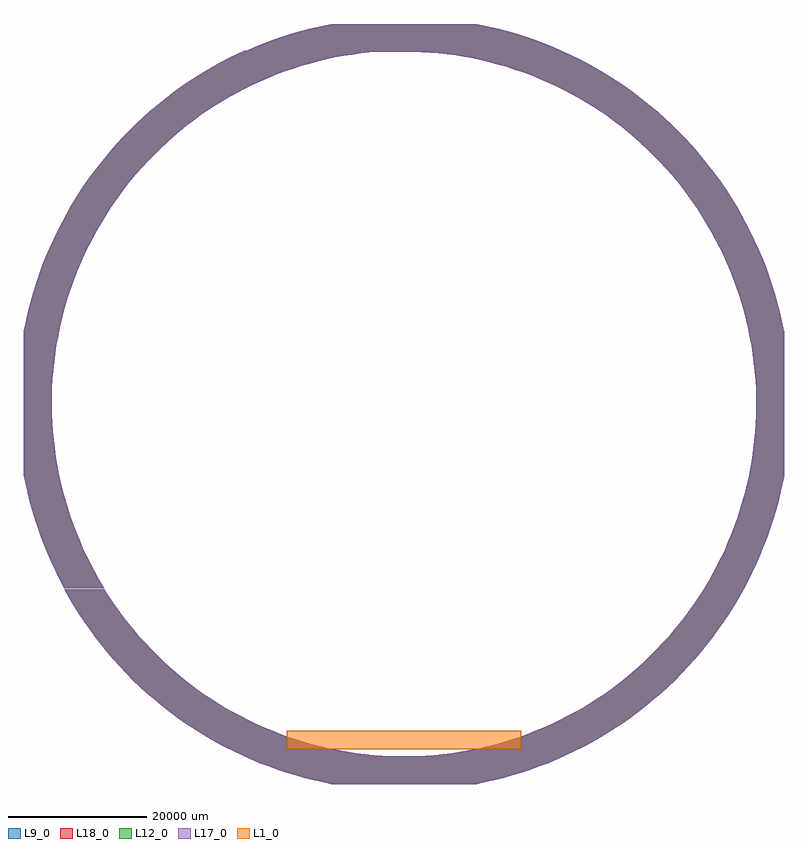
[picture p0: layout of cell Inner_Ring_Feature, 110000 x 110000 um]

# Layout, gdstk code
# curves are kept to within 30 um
import gdstk
lib = gdstk.Library(unit=1e-6, precision=1e-09)
def R(c, l, rs):  # rectangles x0, y0, x1, y1
    for r in rs: c.add(gdstk.rectangle(r[:2], r[2:], *l))
def P(c, l, *ps):  # polygons
    for p in ps: c.add(gdstk.Polygon(p, *l))
L1_0 = (1, 0)
L9_0 = (9, 0)
L12_0 = (12, 0)
L17_0 = (17, 0)
L18_0 = (18, 0)

inner_ring_feature = lib.new_cell('Inner_Ring_Feature')
R(inner_ring_feature, L1_0, [(-16999.996,-50000,17000.006,-47300)])
P(inner_ring_feature, L9_0, [(-49172.55,-26655.379),(-49817.825,-25435.759),(-51017.268,-22950.685),(-52092.842,-20409.543),(-52583.348,-19119.87),(-53041.932,-17818.504),(-53862.236,-15183.858),(-54551.762,-12512.003),(-55000,-10372.42),(-55000,10670.797),(-54703.506,12121.522),(-54046.949,14801.669),(-53259.165,17446.221),(-52342.067,20048.757),(-51297.882,22602.955),(-50129.144,25102.617),(-48838.693,27541.672),(-47429.66,29914.199),(-45905.467,32214.438),(-45101.331,33335.695),(-43411.423,35517.085),(-42526.675,36575.894),(-41616.11,37612.583),(-39719.753,39617.1),(-38735.113,40583.71),(-36695.896,42442.702),(-34567.58,44198.986),(-33471.618,45037.269),(-31219.409,46631.575),(-30064.529,47386.629),(-27700.726,48810.25),(-26493.239,49477.952),(-25269.666,50115.702),(-23155.511,51125.788),(-1256.51,51125.788),(-2512.257,51079.355),(-5018.415,50893.762),(-7512.387,50584.941),(-9988.119,50153.642),(-12439.6,49600.913),(-13654.383,49279.419),(-16058.349,48547.151),(-17246.072,48136.821),(-19589.394,47229.013),(-21885.151,46206.876),(-24127.771,45072.891),(-25227.448,44464.804),(-27380.196,43168.294),(-29466.465,41767.312),(-30483.08,41028.697),(-32460.187,39477.465),(-34358.478,37830.724),(-35276.62,36972.778),(-37048.112,35190.34),(-37900.386,34266.93),(-39535.403,32358.53),(-41074.427,30371.907),(-42513.722,28311.883),(-43194.869,27255.902),(-44478.095,25095.208),(-45653.328,22873.925),(-46199.545,21742.243),(-47207.521,19440.233),(-47668.668,18271.301),(-48100.876,17091.365),(-48877.442,14701.34),(-49535.333,12275.964),(-49819.263,11051.856),(-50072.951,9821.125),(-50488.991,7342.782),(-50782.443,4846.955),(-50882.964,3594.377),(-50952.595,2339.701),(-50999.032,-172.888),(-50975.812,-1429.279),(-50836.562,-3938.438),(-50720.617,-5189.683),(-50396.439,-7681.705),(-50188.403,-8920.971),(-49681.069,-11382.247),(-49053.108,-13815.543),(-48694.358,-15019.85),(-47888.406,-17400.126),(-47441.695,-18574.649),(-46462.155,-20888.903),(-45929.922,-22027.229),(-44782.144,-24262.821),(-43389.907,-26655.379)],
  [(-10522.777,-55000),(-12989.069,-54472.783),(-14327.195,-54136.231),(-16976.551,-53364.752),(-19584.685,-52463.703),(-22145.268,-51435.271),(-24652.082,-50281.954),(-27099.039,-49006.551),(-28298.21,-48324.024),(-30644.295,-46871.39),(-32915.973,-45304.952),(-35107.733,-43628.512),(-37214.251,-41846.142),(-39230.41,-39962.169),(-40203.068,-38983.501),(-42074.586,-36955.773),(-43843.946,-34838.317),(-45506.853,-32636.274),(-46297.114,-31505.194),(-47792.853,-29186.355),(-49172.55,-26796.648),(-43389.907,-26796.648),(-42163.443,-28692.23),(-40698.879,-30734.366),(-39135.497,-32701.879),(-38317.926,-33656.151),(-36613.508,-35502.831),(-35727.695,-36394.117),(-34820.191,-37263.31),(-32942.332,-38933.312),(-31973.114,-39733.109),(-29977.048,-41259.867),(-28951.411,-41985.902),(-26848.041,-43361.074),(-24679.483,-44630.966),(-22451.002,-45792.495),(-21315.979,-46331.729),(-19007.802,-47325.506),(-17836.052,-47779.444),(-15460.786,-48600.042),(-13047.982,-49302.639),(-11829.329,-49609.142),(-9371.225,-50131.628),(-8133.265,-50347.294),(-5643.287,-50686.816),(-3139.606,-50903.27),(-628.303,-50996.13),(628.304,-50996.13),(1884.528,-50965.17),(4392.781,-50810.468),(6890.368,-50532.394),(8133.266,-50347.294),(9371.226,-50131.628),(11829.33,-49609.142),(13047.983,-49302.639),(15460.787,-48600.042),(17836.053,-47779.444),(19007.803,-47325.506),(21315.98,-46331.729),(22451.003,-45792.495),(24679.484,-44630.966),(25771.585,-44009.379),(26848.042,-43361.074),(28951.412,-41985.902),(29977.049,-41259.867),(31973.115,-39733.109),(32942.333,-38933.312),(34820.192,-37263.31),(36613.509,-35502.831),(37477.094,-34589.991),(39135.498,-32701.879),(40698.88,-30734.366),(41443.742,-29722.321),(42857.549,-27644.721),(43525.635,-26580.431),(44782.145,-24404.09),(45929.923,-22168.498),(46462.155,-21030.172),(46966.183,-19879.08),(47888.407,-17541.395),(48694.359,-15161.119),(49053.109,-13956.812),(49681.07,-11523.516),(49949.899,-10296.003),(50396.44,-7822.974),(50720.618,-5330.952),(50836.563,-4079.707),(50975.813,-1570.548),(50999.033,-314.157),(50952.596,2198.431),(50882.965,3453.108),(50651.094,5955.408),(50296.239,8443.248),(50072.952,9679.856),(49535.334,12134.695),(49221.329,13351.436),(48877.443,14560.071),(48100.877,16950.096),(47207.522,19298.964),(46199.546,21600.973),(45653.329,22732.656),(44478.096,24953.939),(43849.793,26042.191),(43194.87,27114.633),(41806.766,29209.493),(41074.428,30230.638),(39535.404,32217.261),(37900.387,34125.661),(37048.113,35049.071),(35276.621,36831.509),(34358.479,37689.455),(32460.188,39336.196),(31481.19,40123.992),(29466.466,41626.043),(27380.197,43027.025),(26311.811,43688.542),(24127.772,44931.622),(21885.152,46065.607),(20743.57,46590.818),(18423.327,47556.084),(16058.35,48405.882),(13654.384,49138.15),(12439.601,49459.644),(9988.12,50012.373),(7512.388,50443.672),(5018.416,50752.493),(2512.258,50938.086),(1256.511,50984.519),(-23155.511,50984.519),(-20229.533,52218.446),(-17632.697,53151.558),(-16317.825,53569.847),(-13659.168,54308.628),(-10515.563,55000),(10515.564,55000),(10967.347,54915.547),(13659.169,54308.628),(16317.826,53569.847),(18936.864,52700.998),(21509.923,51704.19),(24030.755,50581.843),(26493.24,49336.683),(28891.398,47971.732),(31219.41,46490.306),(33471.619,44896),(35642.558,43192.686),(37726.957,41384.497),(39719.754,39475.831),(41616.112,37471.314),(43411.424,35375.817),(45101.332,33194.425),(46681.735,30932.438),(48148.793,28595.347),(49498.944,26188.825),(50728.913,23718.717),(51835.71,21191.019),(52816.648,18611.869),(53669.349,15987.529),(54391.739,13324.371),(54982.065,10628.861),(55000.001,-10513.689),(54846.948,-11305.415),(54223.459,-13993.447),(53468.314,-16647.504),(52583.349,-19261.139),(51570.71,-21828.008),(50432.856,-24341.88),(49172.551,-26796.648),(47792.854,-29186.355),(46297.115,-31505.194),(44688.966,-33747.54),(42972.311,-35907.946),(41151.319,-37981.167),(39230.411,-39962.169),(37214.252,-41846.142),(35107.734,-43628.512),(32915.974,-45304.952),(30644.296,-46871.39),(28298.211,-48324.024),(25883.418,-49659.326),(23405.781,-50874.055),(20871.313,-51965.261),(18286.168,-52930.294),(15656.626,-53766.812),(12989.07,-54472.783),(10522.778,-55000)])
P(inner_ring_feature, L12_0, [(-49172.55,-26655.379),(-49817.825,-25435.759),(-51017.268,-22950.685),(-52092.842,-20409.543),(-52583.348,-19119.87),(-53041.932,-17818.504),(-53862.236,-15183.858),(-54551.762,-12512.003),(-55000,-10372.42),(-55000,10670.797),(-54703.506,12121.522),(-54046.949,14801.669),(-53259.165,17446.221),(-52342.067,20048.757),(-51297.882,22602.955),(-50129.144,25102.617),(-48838.693,27541.672),(-47429.66,29914.199),(-45905.467,32214.438),(-45101.331,33335.695),(-43411.423,35517.085),(-42526.675,36575.894),(-41616.11,37612.583),(-39719.753,39617.1),(-38735.113,40583.71),(-36695.896,42442.702),(-34567.58,44198.986),(-33471.618,45037.269),(-31219.409,46631.575),(-30064.529,47386.629),(-27700.726,48810.25),(-26493.239,49477.952),(-25269.666,50115.702),(-23155.511,51125.788),(-1256.51,51125.788),(-2512.257,51079.355),(-5018.415,50893.762),(-7512.387,50584.941),(-9988.119,50153.642),(-12439.6,49600.913),(-13654.383,49279.419),(-16058.349,48547.151),(-17246.072,48136.821),(-19589.394,47229.013),(-21885.151,46206.876),(-24127.771,45072.891),(-25227.448,44464.804),(-27380.196,43168.294),(-29466.465,41767.312),(-30483.08,41028.697),(-32460.187,39477.465),(-34358.478,37830.724),(-35276.62,36972.778),(-37048.112,35190.34),(-37900.386,34266.93),(-39535.403,32358.53),(-41074.427,30371.907),(-42513.722,28311.883),(-43194.869,27255.902),(-44478.095,25095.208),(-45653.328,22873.925),(-46199.545,21742.243),(-47207.521,19440.233),(-47668.668,18271.301),(-48100.876,17091.365),(-48877.442,14701.34),(-49535.333,12275.964),(-49819.263,11051.856),(-50072.951,9821.125),(-50488.991,7342.782),(-50782.443,4846.955),(-50882.964,3594.377),(-50952.595,2339.701),(-50999.032,-172.888),(-50975.812,-1429.279),(-50836.562,-3938.438),(-50720.617,-5189.683),(-50396.439,-7681.705),(-50188.403,-8920.971),(-49681.069,-11382.247),(-49053.108,-13815.543),(-48694.358,-15019.85),(-47888.406,-17400.126),(-47441.695,-18574.649),(-46462.155,-20888.903),(-45929.922,-22027.229),(-44782.144,-24262.821),(-43389.907,-26655.379)],
  [(-10522.777,-55000),(-12989.069,-54472.783),(-14327.195,-54136.231),(-16976.551,-53364.752),(-19584.685,-52463.703),(-22145.268,-51435.271),(-24652.082,-50281.954),(-27099.039,-49006.551),(-28298.21,-48324.024),(-30644.295,-46871.39),(-32915.973,-45304.952),(-35107.733,-43628.512),(-37214.251,-41846.142),(-39230.41,-39962.169),(-40203.068,-38983.501),(-42074.586,-36955.773),(-43843.946,-34838.317),(-45506.853,-32636.274),(-46297.114,-31505.194),(-47792.853,-29186.355),(-49172.55,-26796.648),(-43389.907,-26796.648),(-42163.443,-28692.23),(-40698.879,-30734.366),(-39135.497,-32701.879),(-38317.926,-33656.151),(-36613.508,-35502.831),(-35727.695,-36394.117),(-34820.191,-37263.31),(-32942.332,-38933.312),(-31973.114,-39733.109),(-29977.048,-41259.867),(-28951.411,-41985.902),(-26848.041,-43361.074),(-24679.483,-44630.966),(-22451.002,-45792.495),(-21315.979,-46331.729),(-19007.802,-47325.506),(-17836.052,-47779.444),(-15460.786,-48600.042),(-13047.982,-49302.639),(-11829.329,-49609.142),(-9371.225,-50131.628),(-8133.265,-50347.294),(-5643.287,-50686.816),(-3139.606,-50903.27),(-628.303,-50996.13),(628.304,-50996.13),(1884.528,-50965.17),(4392.781,-50810.468),(6890.368,-50532.394),(8133.266,-50347.294),(9371.226,-50131.628),(11829.33,-49609.142),(13047.983,-49302.639),(15460.787,-48600.042),(17836.053,-47779.444),(19007.803,-47325.506),(21315.98,-46331.729),(22451.003,-45792.495),(24679.484,-44630.966),(25771.585,-44009.379),(26848.042,-43361.074),(28951.412,-41985.902),(29977.049,-41259.867),(31973.115,-39733.109),(32942.333,-38933.312),(34820.192,-37263.31),(36613.509,-35502.831),(37477.094,-34589.991),(39135.498,-32701.879),(40698.88,-30734.366),(41443.742,-29722.321),(42857.549,-27644.721),(43525.635,-26580.431),(44782.145,-24404.09),(45929.923,-22168.498),(46462.155,-21030.172),(46966.183,-19879.08),(47888.407,-17541.395),(48694.359,-15161.119),(49053.109,-13956.812),(49681.07,-11523.516),(49949.899,-10296.003),(50396.44,-7822.974),(50720.618,-5330.952),(50836.563,-4079.707),(50975.813,-1570.548),(50999.033,-314.157),(50952.596,2198.431),(50882.965,3453.108),(50651.094,5955.408),(50296.239,8443.248),(50072.952,9679.856),(49535.334,12134.695),(49221.329,13351.436),(48877.443,14560.071),(48100.877,16950.096),(47207.522,19298.964),(46199.546,21600.973),(45653.329,22732.656),(44478.096,24953.939),(43849.793,26042.191),(43194.87,27114.633),(41806.766,29209.493),(41074.428,30230.638),(39535.404,32217.261),(37900.387,34125.661),(37048.113,35049.071),(35276.621,36831.509),(34358.479,37689.455),(32460.188,39336.196),(31481.19,40123.992),(29466.466,41626.043),(27380.197,43027.025),(26311.811,43688.542),(24127.772,44931.622),(21885.152,46065.607),(20743.57,46590.818),(18423.327,47556.084),(16058.35,48405.882),(13654.384,49138.15),(12439.601,49459.644),(9988.12,50012.373),(7512.388,50443.672),(5018.416,50752.493),(2512.258,50938.086),(1256.511,50984.519),(-23155.511,50984.519),(-20229.533,52218.446),(-17632.697,53151.558),(-16317.825,53569.847),(-13659.168,54308.628),(-10515.563,55000),(10515.564,55000),(10967.347,54915.547),(13659.169,54308.628),(16317.826,53569.847),(18936.864,52700.998),(21509.923,51704.19),(24030.755,50581.843),(26493.24,49336.683),(28891.398,47971.732),(31219.41,46490.306),(33471.619,44896),(35642.558,43192.686),(37726.957,41384.497),(39719.754,39475.831),(41616.112,37471.314),(43411.424,35375.817),(45101.332,33194.425),(46681.735,30932.438),(48148.793,28595.347),(49498.944,26188.825),(50728.913,23718.717),(51835.71,21191.019),(52816.648,18611.869),(53669.349,15987.529),(54391.739,13324.371),(54982.065,10628.861),(55000.001,-10513.689),(54846.948,-11305.415),(54223.459,-13993.447),(53468.314,-16647.504),(52583.349,-19261.139),(51570.71,-21828.008),(50432.856,-24341.88),(49172.551,-26796.648),(47792.854,-29186.355),(46297.115,-31505.194),(44688.966,-33747.54),(42972.311,-35907.946),(41151.319,-37981.167),(39230.411,-39962.169),(37214.252,-41846.142),(35107.734,-43628.512),(32915.974,-45304.952),(30644.296,-46871.39),(28298.211,-48324.024),(25883.418,-49659.326),(23405.781,-50874.055),(20871.313,-51965.261),(18286.168,-52930.294),(15656.626,-53766.812),(12989.07,-54472.783),(10522.778,-55000)])
P(inner_ring_feature, L17_0, [(-49172.55,-26655.379),(-49817.825,-25435.759),(-51017.268,-22950.685),(-52092.842,-20409.543),(-52583.348,-19119.87),(-53041.932,-17818.504),(-53862.236,-15183.858),(-54551.762,-12512.003),(-55000,-10372.42),(-55000,10670.797),(-54703.506,12121.522),(-54046.949,14801.669),(-53259.165,17446.221),(-52342.067,20048.757),(-51297.882,22602.955),(-50129.144,25102.617),(-48838.693,27541.672),(-47429.66,29914.199),(-45905.467,32214.438),(-45101.331,33335.695),(-43411.423,35517.085),(-42526.675,36575.894),(-41616.11,37612.583),(-39719.753,39617.1),(-38735.113,40583.71),(-36695.896,42442.702),(-34567.58,44198.986),(-33471.618,45037.269),(-31219.409,46631.575),(-30064.529,47386.629),(-27700.726,48810.25),(-26493.239,49477.952),(-25269.666,50115.702),(-23155.511,51125.788),(-1256.51,51125.788),(-2512.257,51079.355),(-5018.415,50893.762),(-7512.387,50584.941),(-9988.119,50153.642),(-12439.6,49600.913),(-13654.383,49279.419),(-16058.349,48547.151),(-17246.072,48136.821),(-19589.394,47229.013),(-21885.151,46206.876),(-24127.771,45072.891),(-25227.448,44464.804),(-27380.196,43168.294),(-29466.465,41767.312),(-30483.08,41028.697),(-32460.187,39477.465),(-34358.478,37830.724),(-35276.62,36972.778),(-37048.112,35190.34),(-37900.386,34266.93),(-39535.403,32358.53),(-41074.427,30371.907),(-42513.722,28311.883),(-43194.869,27255.902),(-44478.095,25095.208),(-45653.328,22873.925),(-46199.545,21742.243),(-47207.521,19440.233),(-47668.668,18271.301),(-48100.876,17091.365),(-48877.442,14701.34),(-49535.333,12275.964),(-49819.263,11051.856),(-50072.951,9821.125),(-50488.991,7342.782),(-50782.443,4846.955),(-50882.964,3594.377),(-50952.595,2339.701),(-50999.032,-172.888),(-50975.812,-1429.279),(-50836.562,-3938.438),(-50720.617,-5189.683),(-50396.439,-7681.705),(-50188.403,-8920.971),(-49681.069,-11382.247),(-49053.108,-13815.543),(-48694.358,-15019.85),(-47888.406,-17400.126),(-47441.695,-18574.649),(-46462.155,-20888.903),(-45929.922,-22027.229),(-44782.144,-24262.821),(-43389.907,-26655.379)],
  [(-10522.777,-55000),(-12989.069,-54472.783),(-14327.195,-54136.231),(-16976.551,-53364.752),(-19584.685,-52463.703),(-22145.268,-51435.271),(-24652.082,-50281.954),(-27099.039,-49006.551),(-28298.21,-48324.024),(-30644.295,-46871.39),(-32915.973,-45304.952),(-35107.733,-43628.512),(-37214.251,-41846.142),(-39230.41,-39962.169),(-40203.068,-38983.501),(-42074.586,-36955.773),(-43843.946,-34838.317),(-45506.853,-32636.274),(-46297.114,-31505.194),(-47792.853,-29186.355),(-49172.55,-26796.648),(-43389.907,-26796.648),(-42163.443,-28692.23),(-40698.879,-30734.366),(-39135.497,-32701.879),(-38317.926,-33656.151),(-36613.508,-35502.831),(-35727.695,-36394.117),(-34820.191,-37263.31),(-32942.332,-38933.312),(-31973.114,-39733.109),(-29977.048,-41259.867),(-28951.411,-41985.902),(-26848.041,-43361.074),(-24679.483,-44630.966),(-22451.002,-45792.495),(-21315.979,-46331.729),(-19007.802,-47325.506),(-17836.052,-47779.444),(-15460.786,-48600.042),(-13047.982,-49302.639),(-11829.329,-49609.142),(-9371.225,-50131.628),(-8133.265,-50347.294),(-5643.287,-50686.816),(-3139.606,-50903.27),(-628.303,-50996.13),(628.304,-50996.13),(1884.528,-50965.17),(4392.781,-50810.468),(6890.368,-50532.394),(8133.266,-50347.294),(9371.226,-50131.628),(11829.33,-49609.142),(13047.983,-49302.639),(15460.787,-48600.042),(17836.053,-47779.444),(19007.803,-47325.506),(21315.98,-46331.729),(22451.003,-45792.495),(24679.484,-44630.966),(25771.585,-44009.379),(26848.042,-43361.074),(28951.412,-41985.902),(29977.049,-41259.867),(31973.115,-39733.109),(32942.333,-38933.312),(34820.192,-37263.31),(36613.509,-35502.831),(37477.094,-34589.991),(39135.498,-32701.879),(40698.88,-30734.366),(41443.742,-29722.321),(42857.549,-27644.721),(43525.635,-26580.431),(44782.145,-24404.09),(45929.923,-22168.498),(46462.155,-21030.172),(46966.183,-19879.08),(47888.407,-17541.395),(48694.359,-15161.119),(49053.109,-13956.812),(49681.07,-11523.516),(49949.899,-10296.003),(50396.44,-7822.974),(50720.618,-5330.952),(50836.563,-4079.707),(50975.813,-1570.548),(50999.033,-314.157),(50952.596,2198.431),(50882.965,3453.108),(50651.094,5955.408),(50296.239,8443.248),(50072.952,9679.856),(49535.334,12134.695),(49221.329,13351.436),(48877.443,14560.071),(48100.877,16950.096),(47207.522,19298.964),(46199.546,21600.973),(45653.329,22732.656),(44478.096,24953.939),(43849.793,26042.191),(43194.87,27114.633),(41806.766,29209.493),(41074.428,30230.638),(39535.404,32217.261),(37900.387,34125.661),(37048.113,35049.071),(35276.621,36831.509),(34358.479,37689.455),(32460.188,39336.196),(31481.19,40123.992),(29466.466,41626.043),(27380.197,43027.025),(26311.811,43688.542),(24127.772,44931.622),(21885.152,46065.607),(20743.57,46590.818),(18423.327,47556.084),(16058.35,48405.882),(13654.384,49138.15),(12439.601,49459.644),(9988.12,50012.373),(7512.388,50443.672),(5018.416,50752.493),(2512.258,50938.086),(1256.511,50984.519),(-23155.511,50984.519),(-20229.533,52218.446),(-17632.697,53151.558),(-16317.825,53569.847),(-13659.168,54308.628),(-10515.563,55000),(10515.564,55000),(10967.347,54915.547),(13659.169,54308.628),(16317.826,53569.847),(18936.864,52700.998),(21509.923,51704.19),(24030.755,50581.843),(26493.24,49336.683),(28891.398,47971.732),(31219.41,46490.306),(33471.619,44896),(35642.558,43192.686),(37726.957,41384.497),(39719.754,39475.831),(41616.112,37471.314),(43411.424,35375.817),(45101.332,33194.425),(46681.735,30932.438),(48148.793,28595.347),(49498.944,26188.825),(50728.913,23718.717),(51835.71,21191.019),(52816.648,18611.869),(53669.349,15987.529),(54391.739,13324.371),(54982.065,10628.861),(55000.001,-10513.689),(54846.948,-11305.415),(54223.459,-13993.447),(53468.314,-16647.504),(52583.349,-19261.139),(51570.71,-21828.008),(50432.856,-24341.88),(49172.551,-26796.648),(47792.854,-29186.355),(46297.115,-31505.194),(44688.966,-33747.54),(42972.311,-35907.946),(41151.319,-37981.167),(39230.411,-39962.169),(37214.252,-41846.142),(35107.734,-43628.512),(32915.974,-45304.952),(30644.296,-46871.39),(28298.211,-48324.024),(25883.418,-49659.326),(23405.781,-50874.055),(20871.313,-51965.261),(18286.168,-52930.294),(15656.626,-53766.812),(12989.07,-54472.783),(10522.778,-55000)])
P(inner_ring_feature, L18_0, [(-49172.55,-26655.379),(-49817.825,-25435.759),(-51017.268,-22950.685),(-52092.842,-20409.543),(-52583.348,-19119.87),(-53041.932,-17818.504),(-53862.236,-15183.858),(-54551.762,-12512.003),(-55000,-10372.42),(-55000,10670.797),(-54703.506,12121.522),(-54046.949,14801.669),(-53259.165,17446.221),(-52342.067,20048.757),(-51297.882,22602.955),(-50129.144,25102.617),(-48838.693,27541.672),(-47429.66,29914.199),(-45905.467,32214.438),(-45101.331,33335.695),(-43411.423,35517.085),(-42526.675,36575.894),(-41616.11,37612.583),(-39719.753,39617.1),(-38735.113,40583.71),(-36695.896,42442.702),(-34567.58,44198.986),(-33471.618,45037.269),(-31219.409,46631.575),(-30064.529,47386.629),(-27700.726,48810.25),(-26493.239,49477.952),(-25269.666,50115.702),(-23155.511,51125.788),(-1256.51,51125.788),(-2512.257,51079.355),(-5018.415,50893.762),(-7512.387,50584.941),(-9988.119,50153.642),(-12439.6,49600.913),(-13654.383,49279.419),(-16058.349,48547.151),(-17246.072,48136.821),(-19589.394,47229.013),(-21885.151,46206.876),(-24127.771,45072.891),(-25227.448,44464.804),(-27380.196,43168.294),(-29466.465,41767.312),(-30483.08,41028.697),(-32460.187,39477.465),(-34358.478,37830.724),(-35276.62,36972.778),(-37048.112,35190.34),(-37900.386,34266.93),(-39535.403,32358.53),(-41074.427,30371.907),(-42513.722,28311.883),(-43194.869,27255.902),(-44478.095,25095.208),(-45653.328,22873.925),(-46199.545,21742.243),(-47207.521,19440.233),(-47668.668,18271.301),(-48100.876,17091.365),(-48877.442,14701.34),(-49535.333,12275.964),(-49819.263,11051.856),(-50072.951,9821.125),(-50488.991,7342.782),(-50782.443,4846.955),(-50882.964,3594.377),(-50952.595,2339.701),(-50999.032,-172.888),(-50975.812,-1429.279),(-50836.562,-3938.438),(-50720.617,-5189.683),(-50396.439,-7681.705),(-50188.403,-8920.971),(-49681.069,-11382.247),(-49053.108,-13815.543),(-48694.358,-15019.85),(-47888.406,-17400.126),(-47441.695,-18574.649),(-46462.155,-20888.903),(-45929.922,-22027.229),(-44782.144,-24262.821),(-43389.907,-26655.379)],
  [(-10522.777,-55000),(-12989.069,-54472.783),(-14327.195,-54136.231),(-16976.551,-53364.752),(-19584.685,-52463.703),(-22145.268,-51435.271),(-24652.082,-50281.954),(-27099.039,-49006.551),(-28298.21,-48324.024),(-30644.295,-46871.39),(-32915.973,-45304.952),(-35107.733,-43628.512),(-37214.251,-41846.142),(-39230.41,-39962.169),(-40203.068,-38983.501),(-42074.586,-36955.773),(-43843.946,-34838.317),(-45506.853,-32636.274),(-46297.114,-31505.194),(-47792.853,-29186.355),(-49172.55,-26796.648),(-43389.907,-26796.648),(-42163.443,-28692.23),(-40698.879,-30734.366),(-39135.497,-32701.879),(-38317.926,-33656.151),(-36613.508,-35502.831),(-35727.695,-36394.117),(-34820.191,-37263.31),(-32942.332,-38933.312),(-31973.114,-39733.109),(-29977.048,-41259.867),(-28951.411,-41985.902),(-26848.041,-43361.074),(-24679.483,-44630.966),(-22451.002,-45792.495),(-21315.979,-46331.729),(-19007.802,-47325.506),(-17836.052,-47779.444),(-15460.786,-48600.042),(-13047.982,-49302.639),(-11829.329,-49609.142),(-9371.225,-50131.628),(-8133.265,-50347.294),(-5643.287,-50686.816),(-3139.606,-50903.27),(-628.303,-50996.13),(628.304,-50996.13),(1884.528,-50965.17),(4392.781,-50810.468),(6890.368,-50532.394),(8133.266,-50347.294),(9371.226,-50131.628),(11829.33,-49609.142),(13047.983,-49302.639),(15460.787,-48600.042),(17836.053,-47779.444),(19007.803,-47325.506),(21315.98,-46331.729),(22451.003,-45792.495),(24679.484,-44630.966),(25771.585,-44009.379),(26848.042,-43361.074),(28951.412,-41985.902),(29977.049,-41259.867),(31973.115,-39733.109),(32942.333,-38933.312),(34820.192,-37263.31),(36613.509,-35502.831),(37477.094,-34589.991),(39135.498,-32701.879),(40698.88,-30734.366),(41443.742,-29722.321),(42857.549,-27644.721),(43525.635,-26580.431),(44782.145,-24404.09),(45929.923,-22168.498),(46462.155,-21030.172),(46966.183,-19879.08),(47888.407,-17541.395),(48694.359,-15161.119),(49053.109,-13956.812),(49681.07,-11523.516),(49949.899,-10296.003),(50396.44,-7822.974),(50720.618,-5330.952),(50836.563,-4079.707),(50975.813,-1570.548),(50999.033,-314.157),(50952.596,2198.431),(50882.965,3453.108),(50651.094,5955.408),(50296.239,8443.248),(50072.952,9679.856),(49535.334,12134.695),(49221.329,13351.436),(48877.443,14560.071),(48100.877,16950.096),(47207.522,19298.964),(46199.546,21600.973),(45653.329,22732.656),(44478.096,24953.939),(43849.793,26042.191),(43194.87,27114.633),(41806.766,29209.493),(41074.428,30230.638),(39535.404,32217.261),(37900.387,34125.661),(37048.113,35049.071),(35276.621,36831.509),(34358.479,37689.455),(32460.188,39336.196),(31481.19,40123.992),(29466.466,41626.043),(27380.197,43027.025),(26311.811,43688.542),(24127.772,44931.622),(21885.152,46065.607),(20743.57,46590.818),(18423.327,47556.084),(16058.35,48405.882),(13654.384,49138.15),(12439.601,49459.644),(9988.12,50012.373),(7512.388,50443.672),(5018.416,50752.493),(2512.258,50938.086),(1256.511,50984.519),(-23155.511,50984.519),(-20229.533,52218.446),(-17632.697,53151.558),(-16317.825,53569.847),(-13659.168,54308.628),(-10515.563,55000),(10515.564,55000),(10967.347,54915.547),(13659.169,54308.628),(16317.826,53569.847),(18936.864,52700.998),(21509.923,51704.19),(24030.755,50581.843),(26493.24,49336.683),(28891.398,47971.732),(31219.41,46490.306),(33471.619,44896),(35642.558,43192.686),(37726.957,41384.497),(39719.754,39475.831),(41616.112,37471.314),(43411.424,35375.817),(45101.332,33194.425),(46681.735,30932.438),(48148.793,28595.347),(49498.944,26188.825),(50728.913,23718.717),(51835.71,21191.019),(52816.648,18611.869),(53669.349,15987.529),(54391.739,13324.371),(54982.065,10628.861),(55000.001,-10513.689),(54846.948,-11305.415),(54223.459,-13993.447),(53468.314,-16647.504),(52583.349,-19261.139),(51570.71,-21828.008),(50432.856,-24341.88),(49172.551,-26796.648),(47792.854,-29186.355),(46297.115,-31505.194),(44688.966,-33747.54),(42972.311,-35907.946),(41151.319,-37981.167),(39230.411,-39962.169),(37214.252,-41846.142),(35107.734,-43628.512),(32915.974,-45304.952),(30644.296,-46871.39),(28298.211,-48324.024),(25883.418,-49659.326),(23405.781,-50874.055),(20871.313,-51965.261),(18286.168,-52930.294),(15656.626,-53766.812),(12989.07,-54472.783),(10522.778,-55000)])

lib.write_gds('Inner_Ring_Feature.gds')
